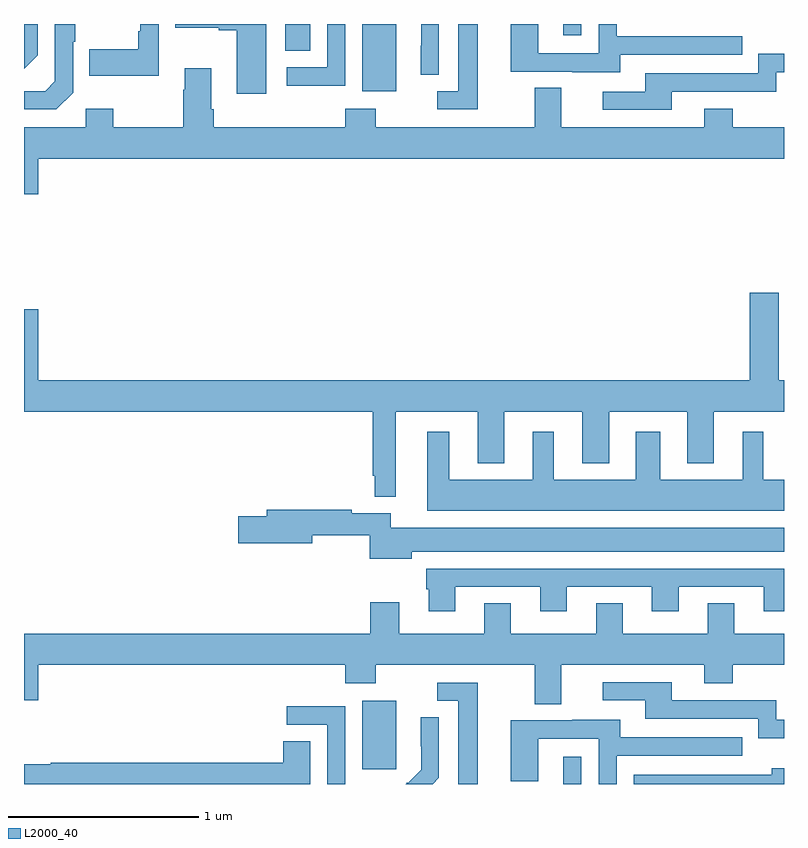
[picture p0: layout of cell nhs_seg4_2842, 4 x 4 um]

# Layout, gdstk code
import gdstk
lib = gdstk.Library(unit=1e-6, precision=1e-09)
def R(c, l, rs):  # rectangles x0, y0, x1, y1
    for r in rs: c.add(gdstk.rectangle(r[:2], r[2:], *l))
def P(c, l, *ps):  # polygons
    for p in ps: c.add(gdstk.Polygon(p, *l))
L2000_40 = (2000, 40)

nhs_seg4_2842 = lib.new_cell('nhs_seg4_2842')
R(nhs_seg4_2842, L2000_40, [(263.837,754.9,263.934,755.044), (262.781,754.977,262.96,755.338), (262.781,758.546,262.96,758.9), (262.376,758.758,262.507,758.9), (263.837,758.841,263.934,758.9)])
P(nhs_seg4_2842, L2000_40, [(263.389,758.9),(263.285,758.9),(263.285,758.547),(263.175,758.547),(263.175,758.451),(263.389,758.451)],
  [(262.276,758.9),(261.795,758.9),(261.795,758.879),(262.025,758.879),(262.025,758.867),(262.121,758.867),(262.121,758.532),(262.276,758.532)],
  [(261.708,758.9),(261.612,758.9),(261.612,758.863),(261.6,758.863),(261.6,758.767),(261.343,758.767),(261.343,758.627),(261.708,758.627)],
  [(261.072,758.736),(261.072,758.9),(261,758.9),(261,758.664)],
  [(264.139,758.739),(264.779,758.739),(264.779,758.835),(264.12,758.835),(264.12,758.9),(264.024,758.9),(264.024,758.745),(263.706,758.745),(263.706,758.9),(263.561,758.9),(263.561,758.649),(263.885,758.649),(263.885,758.645),(264.139,758.645)],
  [(262.692,758.9),(262.596,758.9),(262.596,758.673),(262.383,758.673),(262.383,758.575),(262.692,758.575)],
  [(263.184,758.9),(263.09,758.9),(263.09,758.786),(263.088,758.786),(263.088,758.632),(263.184,758.632)],
  [(261.258,758.538),(261.258,758.807),(261.271,758.807),(261.271,758.9),(261.162,758.9),(261.162,758.598),(261.111,758.547),(261,758.547),(261,758.451),(261.171,758.451)],
  [(264.409,758.544),(264.96,758.544),(264.96,758.646),(265,758.646),(265,758.743),(264.864,758.743),(264.864,758.64),(264.269,758.64),(264.269,758.544),(264.045,758.544),(264.045,758.448),(264.409,758.448)],
  [(261.076,758.192),(265,758.192),(265,758.356),(264.729,758.356),(264.729,758.455),(264.581,758.455),(264.581,758.356),(263.827,758.356),(263.827,758.564),(263.687,758.564),(263.687,758.356),(262.851,758.356),(262.851,758.455),(262.691,758.455),(262.691,758.356),(261.998,758.356),(261.998,758.452),(261.985,758.452),(261.985,758.668),(261.845,758.668),(261.845,758.555),(261.838,758.555),(261.838,758.356),(261.471,758.356),(261.471,758.455),(261.324,758.455),(261.324,758.356),(261,758.356),(261,758.004),(261.076,758.004)],
  [(262.957,756.86),(263.387,756.86),(263.387,756.587),(263.527,756.587),(263.527,756.86),(263.939,756.86),(263.939,756.587),(264.079,756.587),(264.079,756.86),(264.491,756.86),(264.491,756.587),(264.631,756.587),(264.631,756.86),(265,756.86),(265,757.024),(264.973,757.024),(264.973,757.486),(264.821,757.486),(264.821,757.024),(261.076,757.024),(261.076,757.399),(261,757.399),(261,756.86),(262.836,756.86),(262.836,756.523),(262.846,756.523),(262.846,756.411),(262.957,756.411)],
  [(265,756.502),(264.892,756.502),(264.892,756.754),(264.782,756.754),(264.782,756.502),(264.349,756.502),(264.349,756.754),(264.221,756.754),(264.221,756.502),(263.788,756.502),(263.788,756.754),(263.678,756.754),(263.678,756.502),(263.239,756.502),(263.239,756.754),(263.123,756.754),(263.123,756.338),(265,756.338)],
  [(263.041,756.122),(265,756.122),(265,756.25),(262.93,756.25),(262.93,756.324),(262.724,756.324),(262.724,756.344),(262.277,756.344),(262.277,756.308),(262.128,756.308),(262.128,756.166),(262.516,756.166),(262.516,756.208),(262.82,756.208),(262.82,756.086),(263.041,756.086)],
  [(263.269,755.937),(263.717,755.937),(263.717,755.808),(263.857,755.808),(263.857,755.937),(264.305,755.937),(264.305,755.808),(264.445,755.808),(264.445,755.937),(264.893,755.937),(264.893,755.808),(265,755.808),(265,756.033),(263.117,756.033),(263.117,755.925),(263.129,755.925),(263.129,755.808),(263.269,755.808)],
  [(263.827,755.528),(264.581,755.528),(264.581,755.429),(264.729,755.429),(264.729,755.528),(265,755.528),(265,755.692),(264.739,755.692),(264.739,755.852),(264.599,755.852),(264.599,755.692),(264.151,755.692),(264.151,755.852),(264.011,755.852),(264.011,755.692),(263.563,755.692),(263.563,755.852),(263.423,755.852),(263.423,755.692),(262.975,755.692),(262.975,755.857),(262.823,755.857),(262.823,755.692),(261,755.692),(261,755.34),(261.076,755.34),(261.076,755.528),(262.691,755.528),(262.691,755.429),(262.851,755.429),(262.851,755.528),(263.687,755.528),(263.687,755.32),(263.827,755.32)],
  [(265,755.238),(264.96,755.238),(264.96,755.34),(264.409,755.34),(264.409,755.436),(264.045,755.436),(264.045,755.34),(264.269,755.34),(264.269,755.244),(264.864,755.244),(264.864,755.141),(265,755.141)],
  [(263.389,755.433),(263.175,755.433),(263.175,755.337),(263.285,755.337),(263.285,754.9),(263.389,754.9)],
  [(262.692,755.31),(262.383,755.31),(262.383,755.211),(262.596,755.211),(262.596,754.9),(262.692,754.9)],
  [(263.184,754.934),(263.184,755.252),(263.088,755.252),(263.088,755.098),(263.09,755.098),(263.09,754.976),(263.019,754.905),(263.016,754.908),(263.008,754.9),(263.15,754.9)],
  [(264.12,755.049),(264.779,755.049),(264.779,755.145),(264.139,755.145),(264.139,755.239),(263.885,755.239),(263.885,755.235),(263.561,755.235),(263.561,754.915),(263.706,754.915),(263.706,755.139),(264.024,755.139),(264.024,754.9),(264.12,754.9)],
  [(262.507,755.126),(262.364,755.126),(262.364,755.012),(261.14,755.012),(261.14,755.005),(261,755.005),(261,754.9),(262.507,754.9)],
  [(265,754.984),(264.935,754.984),(264.935,754.95),(264.21,754.95),(264.21,754.9),(265,754.9)])

lib.write_gds('nhs_seg4_2842.gds')
